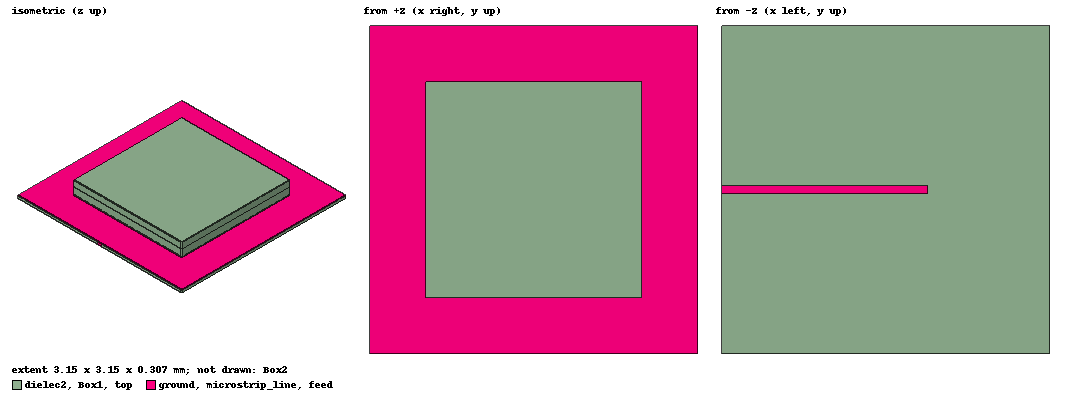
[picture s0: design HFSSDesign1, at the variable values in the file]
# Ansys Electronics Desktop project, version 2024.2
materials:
  vacuum: permittivity=1
  $new15: permittivity=15
  Arlon 25N (tm): permittivity=3.38 dielectric_loss_tangent=0.0025
  Rogers RT/duroid 5880 (tm): permittivity=2.2 dielectric_loss_tangent=0.0009
  air: permittivity=1.0006 permeability=1.0000004

design HFSSDesign1 (HFSS, HFSS Terminal Network, model units mm)
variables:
  hl = 0.055mm
  ls = 1.395139mm
  ws = 0.081mm
  wm = 0.0846mm
  lm = 0.405mm
  h2 = 0.135mm
  L = 2.07mm
  h1 = 0.117mm
  lg = 3.15mm
  wg = 3.15mm
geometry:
  Box1 [Arlon 25N (tm)] = box(corner=(-lg/2, -wg/2, 0mm), size=(lg, wg, hl))
  ground = rectangle(corner=(-lg/2, -wg/2, hl), x_size=lg, y_size=wg)
  slot = rectangle(corner=(-ws/2, -ls/2, hl), x_size=ws, y_size=ls)
  ground.subtract(slot)
  microstrip_line = rectangle(corner=(lg/2, -wm/2, 0mm), x_size=-((lg/2)+lm), y_size=wm)
  feed = rectangle(corner=(lg/2, -wm/2, 0mm), y_size=wm, z_size=hl)
  dielec2 [Rogers RT/duroid 5880 (tm)] = box(corner=(-L/2, -L/2, hl), size=(L, L, h2))
  top [$new15] = box(corner=(-L/2, -L/2, hl+h2), size=(L, L, h1))
  Box2 [air] = box(corner=(-1.75mm, -1.75mm, -1.75mm), size=(3.5mm, 3.5mm, 3.5mm))
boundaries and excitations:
  PerfE1: Perfect E Objects=[ground, microstrip_line]
  Rad1: Radiation Objects=Box2
  1: Lumped Port Objects=feed LumpedPortType=Modal Modes{Mode1{IntLine{(1.575, 0, 0) -> (1.575, 0, 0.055)} CharImp=Zpi RenormImp=50ohm}} Impedance=50ohm
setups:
  Setup1: HfssDriven Frequency=110GHz MaxDeltaS=0.02 MaximumPasses=10 MinimumPasses=1 MinimumConvergedPasses=1 PercentRefinement=30 BasisOrder=1 PortAccuracy=2 DrivenSolverType="Direct Solver"
    sweep Sweep: 85GHz to 135GHz, 150 points; Type=Fast SaveFields
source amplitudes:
  1:1: 1V 0deg
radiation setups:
  Infinite Sphere1: Infinite Sphere Theta=-90deg..90deg step 2deg Phi=-180deg..180deg step 2deg
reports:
  S Parameter Plot 1: dB(S(1,1)) vs Freq on Setup1 : Sweep; markers m2 at 101.44295GHz, m4 at 110GHz, m5 at 118.55705GHz, m6 at 93.389262GHz, m7 at 126.27517GHz
  Gain Plot 1: dB(GainTotal) vs Freq on Setup1 : Sweep, Infinite Sphere1 [Phi=0deg Theta=0deg hl=0.055mm]; markers m1 at 116.20805GHz, m2 at 110GHz
  VSWR Plot 1: VSWR(1) vs Freq on Setup1 : Sweep [hl=0.055mm]; markers m1 at 118.22148GHz, m2 at 110.16779GHz
  118_phi0: dB(GainPhi), dB(GainTheta) vs Theta on Setup1 : Sweep, Infinite Sphere1 [Phi=0deg Freq=118.221GHz hl=0.055mm]
  118_phi90: dB(GainPhi), dB(GainTheta) vs Theta on Setup1 : Sweep, Infinite Sphere1 [Phi=90deg Freq=118.221GHz hl=0.055mm]
  102_phi0: dB(GainPhi), dB(GainTheta) vs Theta on Setup1 : Sweep, Infinite Sphere1 [Phi=0deg Freq=102.114GHz hl=0.055mm]
  102_phi90: dB(GainPhi), dB(GainTheta) vs Theta on Setup1 : Sweep, Infinite Sphere1 [Phi=90deg Freq=102.114GHz hl=0.055mm]
  Gain Plot 2: dB(GainTotal) vs Phi, Theta on Setup1 : Sweep, Infinite Sphere1 [Freq=102.785GHz]
  Gain Plot 3: dB(GainTotal) vs Phi, Theta on Setup1 : Sweep, Infinite Sphere1 [Freq=118.557GHz]
